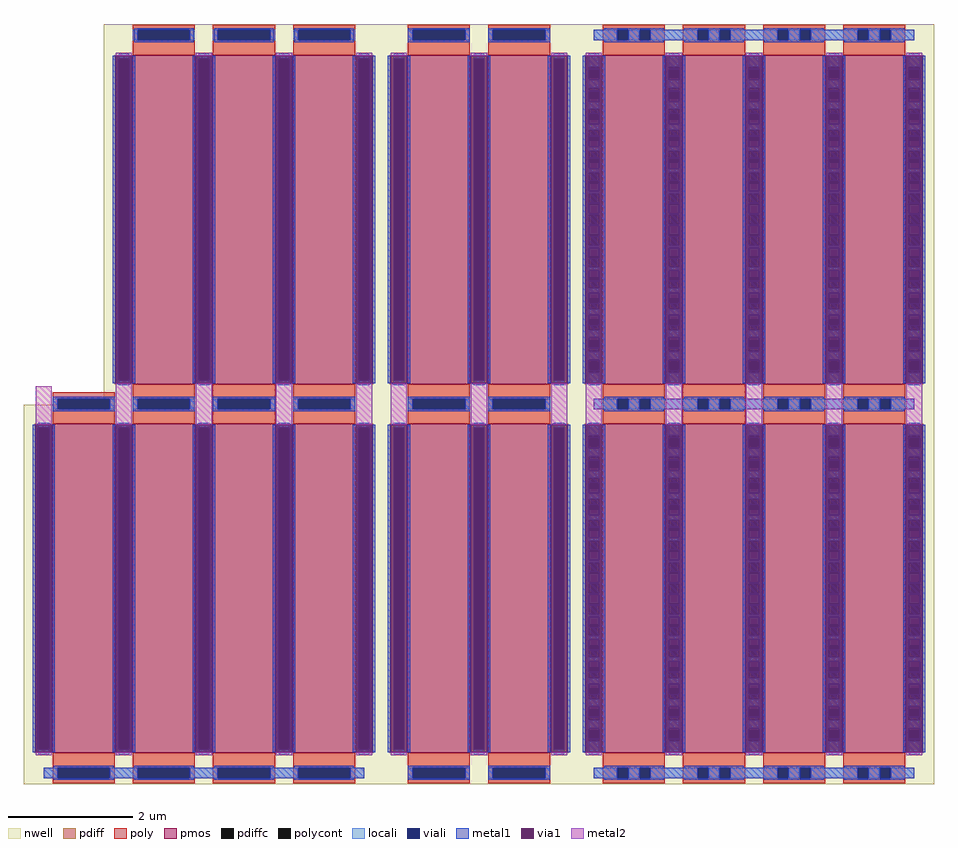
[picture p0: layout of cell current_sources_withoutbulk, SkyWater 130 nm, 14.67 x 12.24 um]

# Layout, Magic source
magic
tech sky130A
magscale 1 2
<< nwell >>
rect -610 2410 0 2448
rect -1514 1222 0 1226
rect -610 0 0 38
<< pdiffc >>
rect -580 1300 -546 2336
rect -322 1300 -288 2336
rect -64 1300 -30 2336
rect -580 112 -546 1148
rect -322 112 -288 1148
rect -64 112 -30 1148
<< poly >>
rect -534 2429 -334 2445
rect -534 2395 -518 2429
rect -350 2395 -334 2429
rect -534 2374 -334 2395
rect -276 2429 -76 2445
rect -276 2395 -260 2429
rect -92 2395 -76 2429
rect -276 2374 -76 2395
rect -1678 1241 -1478 1262
rect -1678 1207 -1662 1241
rect -1494 1207 -1478 1241
rect -1678 1186 -1478 1207
rect -1420 1241 -1220 1262
rect -1420 1207 -1404 1241
rect -1236 1207 -1220 1241
rect -1420 1186 -1220 1207
rect -1162 1241 -962 1262
rect -1162 1207 -1146 1241
rect -978 1207 -962 1241
rect -1162 1186 -962 1207
rect -904 1241 -704 1262
rect -904 1207 -888 1241
rect -720 1207 -704 1241
rect -904 1186 -704 1207
rect -534 1241 -334 1262
rect -534 1207 -518 1241
rect -350 1207 -334 1241
rect -534 1186 -334 1207
rect -276 1241 -76 1262
rect -276 1207 -260 1241
rect -92 1207 -76 1241
rect -276 1186 -76 1207
rect -534 53 -334 74
rect -534 19 -518 53
rect -350 19 -334 53
rect -534 3 -334 19
rect -276 53 -76 74
rect -276 19 -260 53
rect -92 19 -76 53
rect -276 3 -76 19
<< polycont >>
rect -518 2395 -350 2429
rect -260 2395 -92 2429
rect -1662 1207 -1494 1241
rect -1404 1207 -1236 1241
rect -1146 1207 -978 1241
rect -888 1207 -720 1241
rect -518 1207 -350 1241
rect -260 1207 -92 1241
rect -518 19 -350 53
rect -260 19 -92 53
<< locali >>
rect -534 2395 -518 2429
rect -350 2395 -334 2429
rect -276 2395 -260 2429
rect -92 2395 -76 2429
rect -580 2336 -546 2352
rect -580 1284 -546 1300
rect -322 2336 -288 2352
rect -322 1284 -288 1300
rect -64 2336 -30 2352
rect -64 1284 -30 1300
rect -1678 1207 -1662 1241
rect -1494 1207 -1478 1241
rect -1420 1207 -1404 1241
rect -1236 1207 -1220 1241
rect -1162 1207 -1146 1241
rect -978 1207 -962 1241
rect -904 1207 -888 1241
rect -720 1207 -704 1241
rect -534 1207 -518 1241
rect -350 1207 -334 1241
rect -276 1207 -260 1241
rect -92 1207 -76 1241
rect -580 1148 -546 1164
rect -580 96 -546 112
rect -322 1148 -288 1164
rect -322 96 -288 112
rect -64 1148 -30 1164
rect -64 96 -30 112
rect -534 19 -518 53
rect -350 19 -334 53
rect -276 19 -260 53
rect -92 19 -76 53
<< viali >>
rect -518 2395 -350 2429
rect -260 2395 -92 2429
rect -580 1300 -546 2336
rect -322 1300 -288 2336
rect -64 1300 -30 2336
rect -1662 1207 -1494 1241
rect -1404 1207 -1236 1241
rect -1146 1207 -978 1241
rect -888 1207 -720 1241
rect -518 1207 -350 1241
rect -260 1207 -92 1241
rect -580 112 -546 1148
rect -322 112 -288 1148
rect -64 112 -30 1148
rect -518 19 -350 53
rect -260 19 -92 53
<< metal1 >>
rect -534 2429 -334 2435
rect -534 2395 -518 2429
rect -350 2395 -334 2429
rect -534 2389 -334 2395
rect -276 2429 -76 2435
rect -276 2395 -260 2429
rect -92 2395 -76 2429
rect -276 2389 -76 2395
rect -586 2345 -540 2348
rect -328 2345 -282 2348
rect -70 2345 -24 2348
rect -1485 1291 -1475 2345
rect -1423 1291 -1413 2345
rect -1227 1291 -1217 2345
rect -1165 1291 -1155 2345
rect -969 1291 -959 2345
rect -907 1291 -897 2345
rect -711 1291 -701 2345
rect -649 1291 -639 2345
rect -599 1291 -589 2345
rect -537 1291 -527 2345
rect -341 1291 -331 2345
rect -279 1291 -269 2345
rect -83 1291 -73 2345
rect -21 1291 -11 2345
rect 29 1291 39 2345
rect 91 1291 101 2345
rect 287 1291 297 2345
rect 349 1291 359 2345
rect 545 1291 555 2345
rect 607 1291 617 2345
rect 803 1291 813 2345
rect 865 1291 875 2345
rect 1061 1291 1071 2345
rect 1123 1291 1133 2345
rect -586 1288 -540 1291
rect -328 1288 -282 1291
rect -70 1288 -24 1291
rect -1678 1241 -1478 1247
rect -1678 1207 -1662 1241
rect -1494 1207 -1478 1241
rect -1678 1201 -1478 1207
rect -1420 1241 -1220 1247
rect -1420 1207 -1404 1241
rect -1236 1207 -1220 1241
rect -1420 1201 -1220 1207
rect -1162 1241 -962 1247
rect -1162 1207 -1146 1241
rect -978 1207 -962 1241
rect -1162 1201 -962 1207
rect -904 1241 -704 1247
rect -904 1207 -888 1241
rect -720 1207 -704 1241
rect -904 1201 -704 1207
rect -534 1241 -334 1247
rect -534 1207 -518 1241
rect -350 1207 -334 1241
rect -534 1201 -334 1207
rect -276 1241 -76 1247
rect -276 1207 -260 1241
rect -92 1207 -76 1241
rect -276 1201 -76 1207
rect -586 1157 -540 1160
rect -328 1157 -282 1160
rect -70 1157 -24 1160
rect -1743 103 -1733 1157
rect -1681 103 -1671 1157
rect -1485 103 -1475 1157
rect -1423 103 -1413 1157
rect -1227 103 -1217 1157
rect -1165 103 -1155 1157
rect -969 103 -959 1157
rect -907 103 -897 1157
rect -711 103 -701 1157
rect -649 103 -639 1157
rect -599 103 -589 1157
rect -537 103 -527 1157
rect -341 103 -331 1157
rect -279 103 -269 1157
rect -83 103 -73 1157
rect -21 103 -11 1157
rect 29 103 39 1157
rect 91 103 101 1157
rect 287 103 297 1157
rect 349 103 359 1157
rect 545 103 555 1157
rect 607 103 617 1157
rect 803 103 813 1157
rect 865 103 875 1157
rect 1061 103 1071 1157
rect 1123 103 1133 1157
rect -586 100 -540 103
rect -328 100 -282 103
rect -70 100 -24 103
rect -534 53 -334 59
rect -534 19 -518 53
rect -350 19 -334 53
rect -534 13 -334 19
rect -276 53 -76 59
rect -276 19 -260 53
rect -92 19 -76 53
rect -276 13 -76 19
<< via1 >>
rect -1475 1291 -1423 2345
rect -1217 1291 -1165 2345
rect -959 1291 -907 2345
rect -701 1291 -649 2345
rect -589 2336 -537 2345
rect -589 1300 -580 2336
rect -580 1300 -546 2336
rect -546 1300 -537 2336
rect -589 1291 -537 1300
rect -331 2336 -279 2345
rect -331 1300 -322 2336
rect -322 1300 -288 2336
rect -288 1300 -279 2336
rect -331 1291 -279 1300
rect -73 2336 -21 2345
rect -73 1300 -64 2336
rect -64 1300 -30 2336
rect -30 1300 -21 2336
rect -73 1291 -21 1300
rect 39 1291 91 2345
rect 297 1291 349 2345
rect 555 1291 607 2345
rect 813 1291 865 2345
rect 1071 1291 1123 2345
rect -1733 103 -1681 1157
rect -1475 103 -1423 1157
rect -1217 103 -1165 1157
rect -959 103 -907 1157
rect -701 103 -649 1157
rect -589 1148 -537 1157
rect -589 112 -580 1148
rect -580 112 -546 1148
rect -546 112 -537 1148
rect -589 103 -537 112
rect -331 1148 -279 1157
rect -331 112 -322 1148
rect -322 112 -288 1148
rect -288 112 -279 1148
rect -331 103 -279 112
rect -73 1148 -21 1157
rect -73 112 -64 1148
rect -64 112 -30 1148
rect -30 112 -21 1148
rect -73 103 -21 112
rect 39 103 91 1157
rect 297 103 349 1157
rect 555 103 607 1157
rect 813 103 865 1157
rect 1071 103 1123 1157
<< metal2 >>
rect -1475 2345 -1423 2355
rect -1733 1157 -1681 1281
rect -1733 93 -1681 103
rect -1475 1157 -1423 1291
rect -1475 93 -1423 103
rect -1217 2345 -1165 2355
rect -1217 1157 -1165 1291
rect -1217 93 -1165 103
rect -959 2345 -907 2355
rect -959 1157 -907 1291
rect -959 93 -907 103
rect -701 2345 -649 2355
rect -701 1157 -649 1291
rect -701 93 -649 103
rect -589 2345 -537 2355
rect -589 1157 -537 1291
rect -589 93 -537 103
rect -331 2345 -279 2355
rect -331 1157 -279 1291
rect -331 93 -279 103
rect -73 2345 -21 2355
rect -73 1157 -21 1291
rect -73 93 -21 103
rect 39 2345 91 2355
rect 39 1157 91 1291
rect 39 93 91 103
rect 297 2345 349 2355
rect 297 1157 349 1291
rect 297 93 349 103
rect 555 2345 607 2355
rect 555 1157 607 1291
rect 555 93 607 103
rect 813 2345 865 2355
rect 813 1157 865 1291
rect 813 93 865 103
rect 1071 2345 1123 2355
rect 1071 1157 1123 1291
rect 1071 93 1123 103
use sky130_fd_pr__pfet_01v8_ENDSM8  M6
transform 1 0 -434 0 1 630
box -194 -592 194 592
use sky130_fd_pr__pfet_01v8_ENDSM8  M8
transform 1 0 -176 0 1 630
box -194 -592 194 592
use sky130_fd_pr__pfet_01v8_ENDSM8  MR1
transform 1 0 -434 0 1 1818
box -194 -592 194 592
use sky130_fd_pr__pfet_01v8_ENDSM8  MR2
transform 1 0 -176 0 1 1818
box -194 -592 194 592
use sky130_fd_pr__pfet_01v8_9KVHJQ  sky130_fd_pr__pfet_01v8_9KVHJQ_0
transform 1 0 581 0 1 1224
box -581 -1224 581 1224
use sky130_fd_pr__pfet_01v8_32X93E  sky130_fd_pr__pfet_01v8_32X93E_0
transform 1 0 -1191 0 1 594
box -581 -594 581 628
use sky130_fd_pr__pfet_01v8_AJHM27  sky130_fd_pr__pfet_01v8_AJHM27_0
transform 1 0 -1062 0 1 1854
box -452 -628 452 594
<< end >>

# cell sky130_fd_pr__pfet_01v8_ENDSM8: kit device sky130_fd_pr__pfet_01v8, w 5.3 l 1 m 1 nf 1 diffcov 100 polycov 100 guard 0 glc 0 grc 0 gtc 0 gbc 0 tbcov 100 rlcov 100 topc 0 botc 0 poverlap 0 doverlap 1 lmin 0.15 wmin 0.42 class mosfet compatible {sky130_fd_pr__pfet_01v8 sky130_fd_pr__pfet_01v8_lvt sky130_fd_pr__pfet_01v8_hvt sky130_fd_pr__pfet_g5v0d10v5} full_metal 0 conn_gates 0 viasrc 100 viadrn 100 viagate 100 viagb 0 viagr 0 viagl 0 viagt 0 doports 1

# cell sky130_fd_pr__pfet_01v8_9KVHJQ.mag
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
# cell sky130_fd_pr__pfet_01v8_32X93E: kit device sky130_fd_pr__pfet_01v8, w 5.3 l 1 m 1 nf 4 diffcov 100 polycov 100 guard 0 glc 0 grc 0 gtc 0 gbc 0 tbcov 100 rlcov 100 topc 0 botc 1 poverlap 0 doverlap 1 lmin 0.15 wmin 0.42 class mosfet compatible {sky130_fd_pr__pfet_01v8 sky130_fd_pr__pfet_01v8_lvt sky130_fd_pr__pfet_01v8_hvt sky130_fd_pr__pfet_g5v0d10v5} full_metal 0 conn_gates 1 viasrc 100 viadrn 100 viagate 100 viagb 0 viagr 0 viagl 0 viagt 0 doports 1

# cell sky130_fd_pr__pfet_01v8_AJHM27: kit device sky130_fd_pr__pfet_01v8, w 5.3 l 1 m 1 nf 3 diffcov 100 polycov 100 guard 0 glc 0 grc 0 gtc 0 gbc 0 tbcov 100 rlcov 100 topc 1 botc 0 poverlap 0 doverlap 1 lmin 0.15 wmin 0.42 class mosfet compatible {sky130_fd_pr__pfet_01v8 sky130_fd_pr__pfet_01v8_lvt sky130_fd_pr__pfet_01v8_hvt sky130_fd_pr__pfet_g5v0d10v5} full_metal 0 conn_gates 0 viasrc 100 viadrn 100 viagate 100 viagb 0 viagr 0 viagl 0 viagt 0 doports 1
